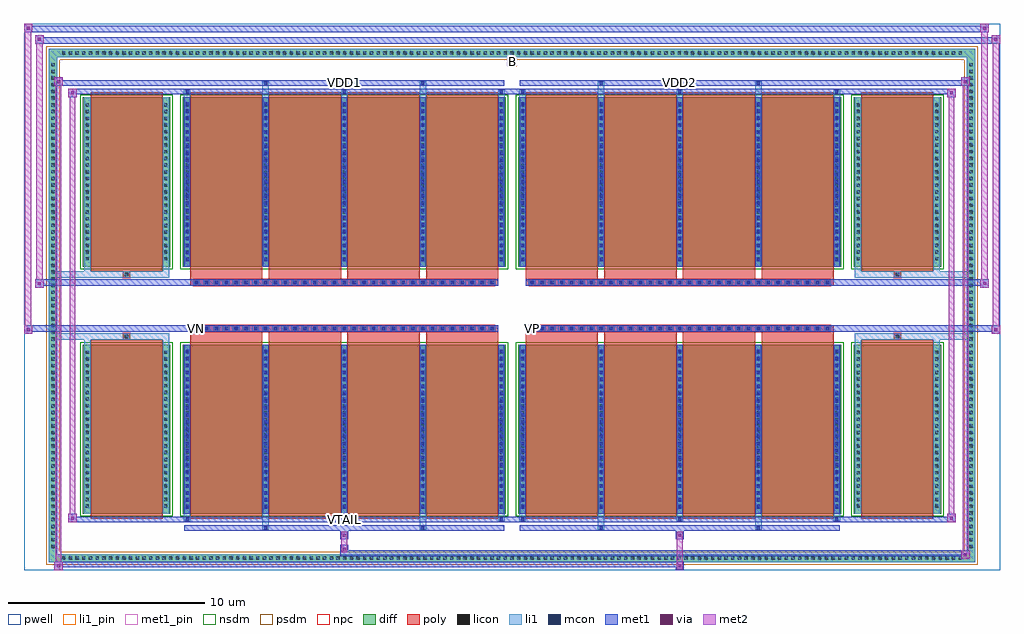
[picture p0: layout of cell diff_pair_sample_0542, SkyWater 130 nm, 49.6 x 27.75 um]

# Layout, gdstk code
import gdstk
lib = gdstk.Library(unit=1e-6, precision=5e-09)
def R(c, l, rs):  # rectangles x0, y0, x1, y1
    for r in rs: c.add(gdstk.rectangle(r[:2], r[2:], *l))
def A(c, l, x, y, w, h, nx, ny, dx, dy):  # array of equal rectangles
    R(c, l, [(x+i*dx, y+j*dy, x+i*dx+w, y+j*dy+h) for i in range(nx) for j in range(ny)])
def P(c, l, *ps):  # polygons
    for p in ps: c.add(gdstk.Polygon(p, *l))
pwell = (64, 44)
diff = (65, 20)
poly = (66, 20)
licon = (66, 44)
li1_pin = (67, 16)
li1 = (67, 20)
mcon = (67, 44)
met1_pin = (68, 16)
met1 = (68, 20)
via = (68, 44)
met2 = (69, 20)
nsdm = (93, 44)
psdm = (94, 20)
npc = (95, 20)

diff_pair_sample_0542 = lib.new_cell('diff_pair_sample_0542')
R(diff_pair_sample_0542, pwell, [(-24.8,-13.44,24.8,14.31), (-22.12,-11.63,-0.01,-0.805), (0.01,-11.63,22.12,-0.805), (-22.12,0.805,-0.01,11.63), (0.01,0.805,22.12,11.63)])
A(diff_pair_sample_0542, diff, -22.985, -13.04, 0.41, 0.41, 135, 2, 0.34, 25.67)
A(diff_pair_sample_0542, diff, -23.53, -12.445, 0.41, 0.41, 1, 73, 0, 0.34)
A(diff_pair_sample_0542, diff, 23.12, -12.445, 0.41, 0.41, 1, 73, 0, 0.34)
R(diff_pair_sample_0542, diff, [(-22.985,-13.04,22.985,-12.63), (-23.53,-12.445,-23.12,12.445), (23.12,-12.445,23.53,12.445), (-21.81,-10.585,-17.37,-1.985), (-16.73,-10.585,-0.32,-1.985), (0.32,-10.585,16.73,-1.985), (17.37,-10.585,21.81,-1.985), (-21.81,1.985,-17.37,10.585), (-16.73,1.985,-0.32,10.585), (0.32,1.985,16.73,10.585), (17.37,1.985,21.81,10.585), (-22.985,12.63,22.985,13.04)])
P(diff_pair_sample_0542, diff, [(23.53,13.04),(-23.53,13.04),(-23.53,-12.63),(-23.12,-12.63),(-23.12,12.63),(23.12,12.63),(23.12,-12.63),(-23.12,-12.63),(-23.53,-12.63),(-23.53,-13.04),(23.53,-13.04)])
A(diff_pair_sample_0542, poly, -16.34, -10.835, 3.66, 9.1, 4, 2, 3.99, 12.57)
A(diff_pair_sample_0542, poly, 0.71, -10.835, 3.66, 9.1, 4, 2, 3.99, 12.57)
A(diff_pair_sample_0542, poly, -16.34, -1.735, 3.66, 0.4, 4, 2, 3.99, 3.07)
A(diff_pair_sample_0542, poly, 0.71, -1.735, 3.66, 0.4, 4, 2, 3.99, 3.07)
A(diff_pair_sample_0542, poly, -16.19, -1.335, 0.33, 0.33, 31, 2, 0.5, 2.34)
A(diff_pair_sample_0542, poly, 0.86, -1.335, 0.33, 0.33, 31, 2, 0.5, 2.34)
R(diff_pair_sample_0542, poly, [(-21.42,-10.835,-17.76,-1.735), (17.76,-10.835,21.42,-1.735), (-19.755,-1.735,-19.425,-1.405), (-19.755,-1.735,-19.425,-1.405), (19.425,-1.735,19.755,-1.405), (19.425,-1.735,19.755,-1.405), (-16.34,-1.335,-0.71,-1.005), (0.71,-1.335,16.34,-1.005), (-16.34,1.005,-0.71,1.335), (0.71,1.005,16.34,1.335), (-19.755,1.405,-19.425,1.735), (-19.755,1.405,-19.425,1.735), (19.425,1.405,19.755,1.735), (19.425,1.405,19.755,1.735), (-21.42,1.735,-17.76,10.835), (17.76,1.735,21.42,10.835)])
A(diff_pair_sample_0542, licon, -22.865, -12.92, 0.17, 0.17, 135, 2, 0.34, 25.67)
A(diff_pair_sample_0542, licon, -23.41, -12.325, 0.17, 0.17, 1, 73, 0, 0.34)
A(diff_pair_sample_0542, licon, 23.24, -12.325, 0.17, 0.17, 1, 73, 0, 0.34)
A(diff_pair_sample_0542, licon, -21.67, -10.28, 0.17, 0.17, 1, 24, 0, 0.34)
A(diff_pair_sample_0542, licon, -17.68, -10.28, 0.17, 0.17, 1, 24, 0, 0.34)
A(diff_pair_sample_0542, licon, -16.59, -10.28, 0.17, 0.17, 5, 24, 3.99, 0.34)
A(diff_pair_sample_0542, licon, 0.46, -10.28, 0.17, 0.17, 5, 24, 3.99, 0.34)
A(diff_pair_sample_0542, licon, 17.51, -10.28, 0.17, 0.17, 1, 24, 0, 0.34)
A(diff_pair_sample_0542, licon, 21.5, -10.28, 0.17, 0.17, 1, 24, 0, 0.34)
A(diff_pair_sample_0542, licon, -16.11, -1.255, 0.17, 0.17, 31, 2, 0.5, 2.34)
A(diff_pair_sample_0542, licon, 0.94, -1.255, 0.17, 0.17, 31, 2, 0.5, 2.34)
A(diff_pair_sample_0542, licon, -21.67, 2.29, 0.17, 0.17, 1, 24, 0, 0.34)
A(diff_pair_sample_0542, licon, -17.68, 2.29, 0.17, 0.17, 1, 24, 0, 0.34)
A(diff_pair_sample_0542, licon, -16.59, 2.29, 0.17, 0.17, 5, 24, 3.99, 0.34)
A(diff_pair_sample_0542, licon, 0.46, 2.29, 0.17, 0.17, 5, 24, 3.99, 0.34)
A(diff_pair_sample_0542, licon, 17.51, 2.29, 0.17, 0.17, 1, 24, 0, 0.34)
A(diff_pair_sample_0542, licon, 21.5, 2.29, 0.17, 0.17, 1, 24, 0, 0.34)
R(diff_pair_sample_0542, licon, [(-19.675,-1.655,-19.505,-1.485), (19.505,-1.655,19.675,-1.485), (-19.675,1.485,-19.505,1.655), (19.505,1.485,19.675,1.655)])
R(diff_pair_sample_0542, li1_pin, [(-0.25,12.13,0.25,12.63)])
A(diff_pair_sample_0542, li1, -22.945, -13, 0.33, 0.33, 135, 2, 0.34, 25.67)
A(diff_pair_sample_0542, li1, -23.49, -12.405, 0.33, 0.33, 1, 73, 0, 0.34)
A(diff_pair_sample_0542, li1, 23.16, -12.405, 0.33, 0.33, 1, 73, 0, 0.34)
A(diff_pair_sample_0542, li1, -16.67, -10.96, 0.33, 0.375, 3, 2, 7.98, 21.545)
A(diff_pair_sample_0542, li1, -16.59, -10.96, 0.17, 0.17, 3, 2, 7.98, 21.75)
A(diff_pair_sample_0542, li1, 0.38, -10.96, 0.33, 0.375, 3, 2, 7.98, 21.545)
A(diff_pair_sample_0542, li1, 0.46, -10.96, 0.17, 0.17, 3, 2, 7.98, 21.75)
A(diff_pair_sample_0542, li1, -16.67, -10.585, 0.33, 8.6, 5, 2, 3.99, 12.57)
A(diff_pair_sample_0542, li1, 0.38, -10.585, 0.33, 8.6, 5, 2, 3.99, 12.57)
A(diff_pair_sample_0542, li1, -21.75, -10.36, 0.33, 0.33, 1, 24, 0, 0.34)
A(diff_pair_sample_0542, li1, -17.76, -10.36, 0.33, 0.33, 1, 24, 0, 0.34)
A(diff_pair_sample_0542, li1, -16.67, -10.36, 0.33, 0.33, 5, 24, 3.99, 0.34)
A(diff_pair_sample_0542, li1, 0.38, -10.36, 0.33, 0.33, 5, 24, 3.99, 0.34)
A(diff_pair_sample_0542, li1, 17.43, -10.36, 0.33, 0.33, 1, 24, 0, 0.34)
A(diff_pair_sample_0542, li1, 21.42, -10.36, 0.33, 0.33, 1, 24, 0, 0.34)
A(diff_pair_sample_0542, li1, -16.59, -10.33, 0.17, 0.17, 5, 23, 3.99, 0.36)
A(diff_pair_sample_0542, li1, -16.59, -10.33, 0.17, 8.09, 5, 2, 3.99, 12.57)
A(diff_pair_sample_0542, li1, 0.46, -10.33, 0.17, 0.17, 5, 23, 3.99, 0.36)
A(diff_pair_sample_0542, li1, 0.46, -10.33, 0.17, 8.09, 5, 2, 3.99, 12.57)
A(diff_pair_sample_0542, li1, -16.19, -1.335, 0.33, 0.33, 31, 2, 0.5, 2.34)
A(diff_pair_sample_0542, li1, 0.86, -1.335, 0.33, 0.33, 31, 2, 0.5, 2.34)
A(diff_pair_sample_0542, li1, -21.75, 2.21, 0.33, 0.33, 1, 24, 0, 0.34)
A(diff_pair_sample_0542, li1, -17.76, 2.21, 0.33, 0.33, 1, 24, 0, 0.34)
A(diff_pair_sample_0542, li1, -16.67, 2.21, 0.33, 0.33, 5, 24, 3.99, 0.34)
A(diff_pair_sample_0542, li1, 0.38, 2.21, 0.33, 0.33, 5, 24, 3.99, 0.34)
A(diff_pair_sample_0542, li1, 17.43, 2.21, 0.33, 0.33, 1, 24, 0, 0.34)
A(diff_pair_sample_0542, li1, 21.42, 2.21, 0.33, 0.33, 1, 24, 0, 0.34)
A(diff_pair_sample_0542, li1, -16.59, 2.24, 0.17, 0.17, 5, 23, 3.99, 0.36)
A(diff_pair_sample_0542, li1, 0.46, 2.24, 0.17, 0.17, 5, 23, 3.99, 0.36)
R(diff_pair_sample_0542, li1, [(-23.53,-13.04,-23.12,-12.63), (-23.53,-13.04,-23.12,-12.63), (-23.12,-13.04,23.12,-12.63), (23.12,-13.04,23.53,-12.63), (23.12,-13.04,23.53,-12.63), (-23.53,-12.63,-23.12,12.63), (23.12,-12.63,23.53,12.63), (-12.68,-11.39,-12.35,-10.585), (-12.6,-11.39,-12.43,-11.22), (-4.7,-11.39,-4.37,-10.585), (-4.62,-11.39,-4.45,-11.22), (4.37,-11.39,4.7,-10.585), (4.45,-11.39,4.62,-11.22), (12.35,-11.39,12.68,-10.585), (12.43,-11.39,12.6,-11.22), (-21.75,-10.585,-21.42,-1.985), (-17.76,-10.585,-17.43,-1.985), (17.43,-10.585,17.76,-1.985), (21.42,-10.585,21.75,-1.985), (-21.75,-1.985,-21.42,-1.405), (-17.76,-1.985,-17.43,-1.405), (17.43,-1.985,17.76,-1.405), (21.42,-1.985,21.75,-1.405), (-23.53,-1.735,-19.755,-1.405), (-21.75,-1.735,-19.755,-1.405), (-19.755,-1.735,-19.425,-1.405), (-19.425,-1.735,-17.43,-1.405), (17.43,-1.735,19.425,-1.405), (19.425,-1.735,19.755,-1.405), (19.425,-1.735,23.53,-1.405), (19.755,-1.735,21.75,-1.405), (-23.53,1.405,-19.755,1.735), (-21.75,1.405,-19.755,1.735), (-21.75,1.405,-21.42,1.985), (-19.755,1.405,-19.425,1.735), (-19.425,1.405,-17.43,1.735), (-17.76,1.405,-17.43,1.985), (17.43,1.405,19.425,1.735), (17.43,1.405,17.76,1.985), (19.425,1.405,19.755,1.735), (19.425,1.405,23.53,1.735), (19.755,1.405,21.75,1.735), (21.42,1.405,21.75,1.985), (-21.75,1.985,-21.42,10.585), (-17.76,1.985,-17.43,10.585), (17.43,1.985,17.76,10.585), (21.42,1.985,21.75,10.585), (-12.68,10.585,-12.35,11.39), (-4.7,10.585,-4.37,11.39), (4.37,10.585,4.7,11.39), (12.35,10.585,12.68,11.39), (-12.6,11.22,-12.43,11.39), (-4.62,11.22,-4.45,11.39), (4.45,11.22,4.62,11.39), (12.43,11.22,12.6,11.39), (-23.53,12.63,-23.12,13.04), (-23.53,12.63,-23.12,13.04), (-23.12,12.63,23.12,13.04), (23.12,12.63,23.53,13.04), (23.12,12.63,23.53,13.04)])
A(diff_pair_sample_0542, mcon, -16.59, -10.96, 0.17, 0.17, 3, 2, 7.98, 21.75)
A(diff_pair_sample_0542, mcon, 0.46, -10.96, 0.17, 0.17, 3, 2, 7.98, 21.75)
A(diff_pair_sample_0542, mcon, -16.59, -10.33, 0.17, 0.17, 5, 23, 3.99, 0.36)
A(diff_pair_sample_0542, mcon, 0.46, -10.33, 0.17, 0.17, 5, 23, 3.99, 0.36)
A(diff_pair_sample_0542, mcon, -16.11, -1.255, 0.17, 0.17, 31, 2, 0.5, 2.34)
A(diff_pair_sample_0542, mcon, 0.94, -1.255, 0.17, 0.17, 31, 2, 0.5, 2.34)
A(diff_pair_sample_0542, mcon, -16.59, 2.24, 0.17, 0.17, 5, 23, 3.99, 0.36)
A(diff_pair_sample_0542, mcon, 0.46, 2.24, 0.17, 0.17, 5, 23, 3.99, 0.36)
R(diff_pair_sample_0542, mcon, [(-12.6,-11.39,-12.43,-11.22), (-4.62,-11.39,-4.45,-11.22), (4.45,-11.39,4.62,-11.22), (12.43,-11.39,12.6,-11.22), (-12.6,11.22,-12.43,11.39), (-4.62,11.22,-4.45,11.39), (4.45,11.22,4.62,11.39), (12.43,11.22,12.6,11.39)])
R(diff_pair_sample_0542, met1_pin, [(-8.66,-11,-8.39,-10.73), (-16.16,-1.295,-15.89,-1.025), (0.89,-1.295,1.16,-1.025), (-8.66,11.18,-8.39,11.45), (8.39,11.18,8.66,11.45)])
A(diff_pair_sample_0542, met1, -16.65, -11.02, 0.29, 0.29, 3, 2, 7.98, 21.75)
A(diff_pair_sample_0542, met1, 0.4, -11.02, 0.29, 0.29, 3, 2, 7.98, 21.75)
A(diff_pair_sample_0542, met1, -16.65, -10.585, 0.29, 8.6, 5, 2, 3.99, 12.57)
A(diff_pair_sample_0542, met1, 0.4, -10.585, 0.29, 8.6, 5, 2, 3.99, 12.57)
A(diff_pair_sample_0542, met1, -16.65, -10.39, 0.29, 0.29, 5, 23, 3.99, 0.36)
A(diff_pair_sample_0542, met1, 0.4, -10.39, 0.29, 0.29, 5, 23, 3.99, 0.36)
A(diff_pair_sample_0542, met1, -16.17, -1.315, 0.29, 0.29, 31, 2, 0.5, 2.34)
A(diff_pair_sample_0542, met1, 0.88, -1.315, 0.29, 0.29, 31, 2, 0.5, 2.34)
A(diff_pair_sample_0542, met1, -16.65, 2.18, 0.29, 0.29, 5, 23, 3.99, 0.36)
A(diff_pair_sample_0542, met1, 0.4, 2.18, 0.29, 0.29, 5, 23, 3.99, 0.36)
R(diff_pair_sample_0542, met1, [(-23.26,-13.44,-22.83,-13.01), (8.31,-13.44,8.74,-13.01), (-23.26,-13.3,8.74,-13.01), (22.83,-12.87,23.26,-12.44), (-8.74,-12.73,23.26,-12.44), (-8.74,-12.59,-8.31,-12.16), (-8.74,-11.88,-8.31,-11.45), (8.31,-11.88,8.74,-11.45), (-16.65,-11.45,-0.4,-11.16), (-12.66,-11.45,-12.37,-11.16), (-4.68,-11.45,-4.39,-11.16), (0.4,-11.45,16.65,-11.16), (4.39,-11.45,4.68,-11.16), (12.37,-11.45,12.66,-11.16), (-22.55,-11.02,-22.12,-10.59), (-22.55,-11.02,-16.65,-10.73), (-16.65,-11.02,-0.4,-10.73), (-0.4,-11.02,0.4,-10.73), (0.4,-11.02,16.65,-10.73), (16.65,-11.02,22.55,-10.73), (22.12,-11.02,22.55,-10.59), (-24.8,-1.435,-24.37,-1.005), (24.37,-1.435,24.8,-1.005), (-24.8,-1.335,-0.71,-1.005), (-16.34,-1.335,-0.71,-1.005), (0.71,-1.335,16.34,-1.005), (0.71,-1.335,24.8,-1.005), (-24.23,0.905,-23.8,1.335), (23.8,0.905,24.23,1.335), (-24.23,1.005,-16.34,1.335), (-16.34,1.005,-0.71,1.335), (0.71,1.005,16.34,1.335), (16.34,1.005,24.23,1.335), (-22.55,10.59,-22.12,11.02), (22.12,10.59,22.55,11.02), (-22.55,10.73,-16.65,11.02), (-16.65,10.73,-0.4,11.02), (-0.4,10.73,0.4,11.02), (0.4,10.73,16.65,11.02), (16.65,10.73,22.55,11.02), (-23.26,11.16,-22.83,11.59), (-23.26,11.16,-16.65,11.45), (-16.65,11.16,-0.4,11.45), (-12.66,11.16,-12.37,11.45), (-4.68,11.16,-4.39,11.45), (0.4,11.16,16.65,11.45), (4.39,11.16,4.68,11.45), (12.37,11.16,12.66,11.45), (16.65,11.16,23.26,11.45), (22.83,11.16,23.26,11.59), (-24.23,13.31,-23.8,13.74), (-24.23,13.31,-22.12,13.64), (-22.12,13.31,22.12,13.64), (22.12,13.31,24.8,13.64), (24.37,13.31,24.8,13.74), (-24.8,13.88,-24.37,14.31), (-24.8,13.88,-22.12,14.21), (-22.12,13.88,22.12,14.21), (22.12,13.88,24.23,14.21), (23.8,13.88,24.23,14.31)])
R(diff_pair_sample_0542, via, [(-23.12,-13.3,-22.97,-13.15), (8.45,-13.3,8.6,-13.15), (22.97,-12.73,23.12,-12.58), (-8.6,-12.45,-8.45,-12.3), (-8.6,-11.74,-8.45,-11.59), (8.45,-11.74,8.6,-11.59), (-22.41,-10.88,-22.26,-10.73), (22.26,-10.88,22.41,-10.73), (-24.66,-1.295,-24.51,-1.145), (24.51,-1.295,24.66,-1.145), (-24.09,1.045,-23.94,1.195), (23.94,1.045,24.09,1.195), (-22.41,10.73,-22.26,10.88), (22.26,10.73,22.41,10.88), (-23.12,11.3,-22.97,11.45), (22.97,11.3,23.12,11.45), (-24.09,13.45,-23.94,13.6), (24.51,13.45,24.66,13.6), (-24.66,14.02,-24.51,14.17), (23.94,14.02,24.09,14.17)])
R(diff_pair_sample_0542, met2, [(-23.26,-13.44,-22.83,-13.01), (-23.19,-13.44,-22.9,11.59), (-22.9,-13.44,-22.83,-13.01), (-23.21,-13.39,-22.88,-13.06), (8.36,-13.39,8.69,-13.06), (8.36,-13.06,8.69,-11.83), (22.83,-12.87,23.26,-12.44), (22.9,-12.87,23.19,11.59), (23.19,-12.87,23.26,-12.44), (22.88,-12.82,23.21,-12.49), (-8.69,-12.54,-8.36,-12.21), (-8.69,-12.21,-8.36,-11.83), (-8.69,-11.83,-8.36,-11.5), (8.36,-11.83,8.69,-11.5), (-22.55,-11.02,-22.12,-10.59), (-22.48,-11.02,-22.19,11.02), (-22.19,-11.02,-22.12,-10.59), (22.12,-11.02,22.55,-10.59), (22.19,-11.02,22.48,11.02), (22.48,-11.02,22.55,-10.59), (-22.5,-10.97,-22.17,-10.64), (22.17,-10.97,22.5,-10.64), (-24.8,-1.435,-24.37,-1.005), (-24.75,-1.435,-24.42,14.31), (-24.42,-1.435,-24.37,-1.005), (24.37,-1.435,24.8,-1.005), (24.42,-1.435,24.75,13.74), (24.75,-1.435,24.8,-1.005), (-24.75,-1.385,-24.42,-1.055), (24.42,-1.385,24.75,-1.055), (-24.23,0.905,-23.8,1.335), (-24.18,0.905,-23.85,13.74), (-23.85,0.905,-23.8,1.335), (23.8,0.905,24.23,1.335), (23.85,0.905,24.18,14.31), (24.18,0.905,24.23,1.335), (-24.18,0.955,-23.85,1.285), (23.85,0.955,24.18,1.285), (-22.55,10.59,-22.12,11.02), (-22.19,10.59,-22.12,11.02), (22.12,10.59,22.55,11.02), (22.48,10.59,22.55,11.02), (-22.5,10.64,-22.17,10.97), (22.17,10.64,22.5,10.97), (-23.26,11.16,-22.83,11.59), (-22.9,11.16,-22.83,11.59), (22.83,11.16,23.26,11.59), (23.19,11.16,23.26,11.59), (-23.21,11.21,-22.88,11.54), (22.88,11.21,23.21,11.54), (-24.23,13.31,-23.8,13.74), (-23.85,13.31,-23.8,13.74), (24.37,13.31,24.8,13.74), (24.75,13.31,24.8,13.74), (-24.18,13.36,-23.85,13.69), (24.42,13.36,24.75,13.69), (-24.8,13.88,-24.37,14.31), (-24.42,13.88,-24.37,14.31), (23.8,13.88,24.23,14.31), (24.18,13.88,24.23,14.31), (-24.75,13.93,-24.42,14.26), (23.85,13.93,24.18,14.26)])
R(diff_pair_sample_0542, nsdm, [(-21.94,-10.715,-17.24,-1.855), (-16.86,-10.715,-0.19,-1.855), (0.19,-10.715,16.86,-1.855), (17.24,-10.715,21.94,-1.855), (-21.94,1.855,-17.24,10.715), (-16.86,1.855,-0.19,10.715), (0.19,1.855,16.86,10.715), (17.24,1.855,21.94,10.715)])
P(diff_pair_sample_0542, psdm, [(23.66,13.17),(-23.66,13.17),(-23.66,-12.5),(-22.99,-12.5),(-22.99,12.5),(22.99,12.5),(22.99,-12.5),(-22.99,-12.5),(-23.66,-12.5),(-23.66,-13.17),(23.66,-13.17)])
A(diff_pair_sample_0542, npc, -16.21, -1.355, 0.37, 0.37, 31, 2, 0.5, 2.34)
A(diff_pair_sample_0542, npc, 0.84, -1.355, 0.37, 0.37, 31, 2, 0.5, 2.34)
R(diff_pair_sample_0542, npc, [(-19.775,-1.755,-19.405,-1.385), (19.405,-1.755,19.775,-1.385), (-16.21,-1.355,-15.34,-0.985), (-16.21,-1.355,-15.34,-0.985), (-15.71,-1.355,-14.84,-0.985), (-15.71,-1.355,-14.84,-0.985), (-15.21,-1.355,-14.34,-0.985), (-15.21,-1.355,-14.34,-0.985), (-14.71,-1.355,-13.84,-0.985), (-14.71,-1.355,-13.84,-0.985), (-14.21,-1.355,-13.34,-0.985), (-14.21,-1.355,-13.34,-0.985), (-13.71,-1.355,-12.84,-0.985), (-13.71,-1.355,-12.84,-0.985), (-13.21,-1.355,-12.34,-0.985), (-13.21,-1.355,-12.34,-0.985), (-12.71,-1.355,-11.84,-0.985), (-12.71,-1.355,-11.84,-0.985), (-12.21,-1.355,-11.34,-0.985), (-12.21,-1.355,-11.34,-0.985), (-11.71,-1.355,-10.84,-0.985), (-11.71,-1.355,-10.84,-0.985), (-11.21,-1.355,-10.34,-0.985), (-11.21,-1.355,-10.34,-0.985), (-10.71,-1.355,-9.84,-0.985), (-10.71,-1.355,-9.84,-0.985), (-10.21,-1.355,-9.34,-0.985), (-10.21,-1.355,-9.34,-0.985), (-9.71,-1.355,-8.84,-0.985), (-9.71,-1.355,-8.84,-0.985), (-9.21,-1.355,-8.34,-0.985), (-9.21,-1.355,-8.34,-0.985), (-8.71,-1.355,-7.84,-0.985), (-8.71,-1.355,-7.84,-0.985), (-8.21,-1.355,-7.34,-0.985), (-8.21,-1.355,-7.34,-0.985), (-7.71,-1.355,-6.84,-0.985), (-7.71,-1.355,-6.84,-0.985), (-7.21,-1.355,-6.34,-0.985), (-7.21,-1.355,-6.34,-0.985), (-6.71,-1.355,-5.84,-0.985), (-6.71,-1.355,-5.84,-0.985), (-6.21,-1.355,-5.34,-0.985), (-6.21,-1.355,-5.34,-0.985), (-5.71,-1.355,-4.84,-0.985), (-5.71,-1.355,-4.84,-0.985), (-5.21,-1.355,-4.34,-0.985), (-5.21,-1.355,-4.34,-0.985), (-4.71,-1.355,-3.84,-0.985), (-4.71,-1.355,-3.84,-0.985), (-4.21,-1.355,-3.34,-0.985), (-4.21,-1.355,-3.34,-0.985), (-3.71,-1.355,-2.84,-0.985), (-3.71,-1.355,-2.84,-0.985), (-3.21,-1.355,-2.34,-0.985), (-3.21,-1.355,-2.34,-0.985), (-2.71,-1.355,-1.84,-0.985), (-2.71,-1.355,-1.84,-0.985), (-2.21,-1.355,-1.34,-0.985), (-2.21,-1.355,-1.34,-0.985), (-1.71,-1.355,-0.84,-0.985), (-1.71,-1.355,-0.84,-0.985), (0.84,-1.355,1.71,-0.985), (0.84,-1.355,1.71,-0.985), (1.34,-1.355,2.21,-0.985), (1.34,-1.355,2.21,-0.985), (1.84,-1.355,2.71,-0.985), (1.84,-1.355,2.71,-0.985), (2.34,-1.355,3.21,-0.985), (2.34,-1.355,3.21,-0.985), (2.84,-1.355,3.71,-0.985), (2.84,-1.355,3.71,-0.985), (3.34,-1.355,4.21,-0.985), (3.34,-1.355,4.21,-0.985), (3.84,-1.355,4.71,-0.985), (3.84,-1.355,4.71,-0.985), (4.34,-1.355,5.21,-0.985), (4.34,-1.355,5.21,-0.985), (4.84,-1.355,5.71,-0.985), (4.84,-1.355,5.71,-0.985), (5.34,-1.355,6.21,-0.985), (5.34,-1.355,6.21,-0.985), (5.84,-1.355,6.71,-0.985), (5.84,-1.355,6.71,-0.985), (6.34,-1.355,7.21,-0.985), (6.34,-1.355,7.21,-0.985), (6.84,-1.355,7.71,-0.985), (6.84,-1.355,7.71,-0.985), (7.34,-1.355,8.21,-0.985), (7.34,-1.355,8.21,-0.985), (7.84,-1.355,8.71,-0.985), (7.84,-1.355,8.71,-0.985), (8.34,-1.355,9.21,-0.985), (8.34,-1.355,9.21,-0.985), (8.84,-1.355,9.71,-0.985), (8.84,-1.355,9.71,-0.985), (9.34,-1.355,10.21,-0.985), (9.34,-1.355,10.21,-0.985), (9.84,-1.355,10.71,-0.985), (9.84,-1.355,10.71,-0.985), (10.34,-1.355,11.21,-0.985), (10.34,-1.355,11.21,-0.985), (10.84,-1.355,11.71,-0.985), (10.84,-1.355,11.71,-0.985), (11.34,-1.355,12.21,-0.985), (11.34,-1.355,12.21,-0.985), (11.84,-1.355,12.71,-0.985), (11.84,-1.355,12.71,-0.985), (12.34,-1.355,13.21,-0.985), (12.34,-1.355,13.21,-0.985), (12.84,-1.355,13.71,-0.985), (12.84,-1.355,13.71,-0.985), (13.34,-1.355,14.21,-0.985), (13.34,-1.355,14.21,-0.985), (13.84,-1.355,14.71,-0.985), (13.84,-1.355,14.71,-0.985), (14.34,-1.355,15.21,-0.985), (14.34,-1.355,15.21,-0.985), (14.84,-1.355,15.71,-0.985), (14.84,-1.355,15.71,-0.985), (15.34,-1.355,16.21,-0.985), (15.34,-1.355,16.21,-0.985), (-16.21,0.985,-15.34,1.355), (-16.21,0.985,-15.34,1.355), (-15.71,0.985,-14.84,1.355), (-15.71,0.985,-14.84,1.355), (-15.21,0.985,-14.34,1.355), (-15.21,0.985,-14.34,1.355), (-14.71,0.985,-13.84,1.355), (-14.71,0.985,-13.84,1.355), (-14.21,0.985,-13.34,1.355), (-14.21,0.985,-13.34,1.355), (-13.71,0.985,-12.84,1.355), (-13.71,0.985,-12.84,1.355), (-13.21,0.985,-12.34,1.355), (-13.21,0.985,-12.34,1.355), (-12.71,0.985,-11.84,1.355), (-12.71,0.985,-11.84,1.355), (-12.21,0.985,-11.34,1.355), (-12.21,0.985,-11.34,1.355), (-11.71,0.985,-10.84,1.355), (-11.71,0.985,-10.84,1.355), (-11.21,0.985,-10.34,1.355), (-11.21,0.985,-10.34,1.355), (-10.71,0.985,-9.84,1.355), (-10.71,0.985,-9.84,1.355), (-10.21,0.985,-9.34,1.355), (-10.21,0.985,-9.34,1.355), (-9.71,0.985,-8.84,1.355), (-9.71,0.985,-8.84,1.355), (-9.21,0.985,-8.34,1.355), (-9.21,0.985,-8.34,1.355), (-8.71,0.985,-7.84,1.355), (-8.71,0.985,-7.84,1.355), (-8.21,0.985,-7.34,1.355), (-8.21,0.985,-7.34,1.355), (-7.71,0.985,-6.84,1.355), (-7.71,0.985,-6.84,1.355), (-7.21,0.985,-6.34,1.355), (-7.21,0.985,-6.34,1.355), (-6.71,0.985,-5.84,1.355), (-6.71,0.985,-5.84,1.355), (-6.21,0.985,-5.34,1.355), (-6.21,0.985,-5.34,1.355), (-5.71,0.985,-4.84,1.355), (-5.71,0.985,-4.84,1.355), (-5.21,0.985,-4.34,1.355), (-5.21,0.985,-4.34,1.355), (-4.71,0.985,-3.84,1.355), (-4.71,0.985,-3.84,1.355), (-4.21,0.985,-3.34,1.355), (-4.21,0.985,-3.34,1.355), (-3.71,0.985,-2.84,1.355), (-3.71,0.985,-2.84,1.355), (-3.21,0.985,-2.34,1.355), (-3.21,0.985,-2.34,1.355), (-2.71,0.985,-1.84,1.355), (-2.71,0.985,-1.84,1.355), (-2.21,0.985,-1.34,1.355), (-2.21,0.985,-1.34,1.355), (-1.71,0.985,-0.84,1.355), (-1.71,0.985,-0.84,1.355), (0.84,0.985,1.71,1.355), (0.84,0.985,1.71,1.355), (1.34,0.985,2.21,1.355), (1.34,0.985,2.21,1.355), (1.84,0.985,2.71,1.355), (1.84,0.985,2.71,1.355), (2.34,0.985,3.21,1.355), (2.34,0.985,3.21,1.355), (2.84,0.985,3.71,1.355), (2.84,0.985,3.71,1.355), (3.34,0.985,4.21,1.355), (3.34,0.985,4.21,1.355), (3.84,0.985,4.71,1.355), (3.84,0.985,4.71,1.355), (4.34,0.985,5.21,1.355), (4.34,0.985,5.21,1.355), (4.84,0.985,5.71,1.355), (4.84,0.985,5.71,1.355), (5.34,0.985,6.21,1.355), (5.34,0.985,6.21,1.355), (5.84,0.985,6.71,1.355), (5.84,0.985,6.71,1.355), (6.34,0.985,7.21,1.355), (6.34,0.985,7.21,1.355), (6.84,0.985,7.71,1.355), (6.84,0.985,7.71,1.355), (7.34,0.985,8.21,1.355), (7.34,0.985,8.21,1.355), (7.84,0.985,8.71,1.355), (7.84,0.985,8.71,1.355), (8.34,0.985,9.21,1.355), (8.34,0.985,9.21,1.355), (8.84,0.985,9.71,1.355), (8.84,0.985,9.71,1.355), (9.34,0.985,10.21,1.355), (9.34,0.985,10.21,1.355), (9.84,0.985,10.71,1.355), (9.84,0.985,10.71,1.355), (10.34,0.985,11.21,1.355), (10.34,0.985,11.21,1.355), (10.84,0.985,11.71,1.355), (10.84,0.985,11.71,1.355), (11.34,0.985,12.21,1.355), (11.34,0.985,12.21,1.355), (11.84,0.985,12.71,1.355), (11.84,0.985,12.71,1.355), (12.34,0.985,13.21,1.355), (12.34,0.985,13.21,1.355), (12.84,0.985,13.71,1.355), (12.84,0.985,13.71,1.355), (13.34,0.985,14.21,1.355), (13.34,0.985,14.21,1.355), (13.84,0.985,14.71,1.355), (13.84,0.985,14.71,1.355), (14.34,0.985,15.21,1.355), (14.34,0.985,15.21,1.355), (14.84,0.985,15.71,1.355), (14.84,0.985,15.71,1.355), (15.34,0.985,16.21,1.355), (15.34,0.985,16.21,1.355), (-19.775,1.385,-19.405,1.755), (19.405,1.385,19.775,1.755)])
diff_pair_sample_0542.add(gdstk.Label('VTAIL', (-8.525,-10.865), layer=68, texttype=5))
diff_pair_sample_0542.add(gdstk.Label('VN', (-16.025,-1.16), layer=68, texttype=5))
diff_pair_sample_0542.add(gdstk.Label('VP', (1.025,-1.16), layer=68, texttype=5))
diff_pair_sample_0542.add(gdstk.Label('B', (0,12.38), layer=67, texttype=5))
diff_pair_sample_0542.add(gdstk.Label('VDD2', (8.525,11.315), layer=68, texttype=5))
diff_pair_sample_0542.add(gdstk.Label('VDD1', (-8.525,11.315), layer=68, texttype=5))

lib.write_gds('diff_pair_sample_0542.gds')
